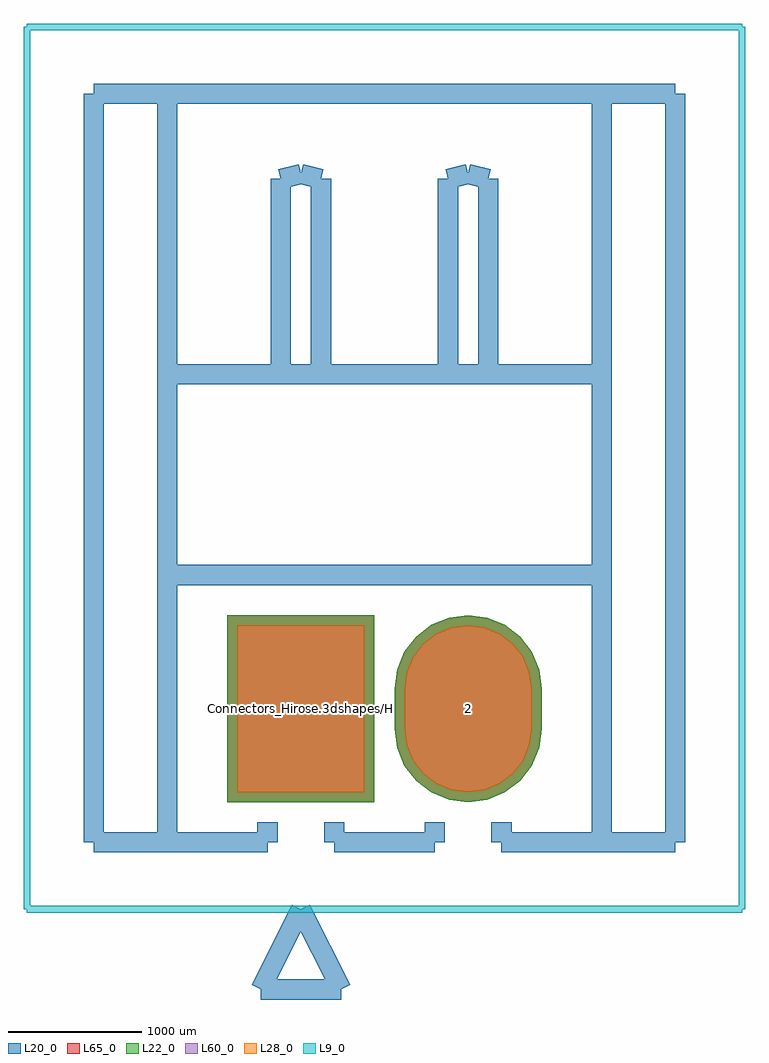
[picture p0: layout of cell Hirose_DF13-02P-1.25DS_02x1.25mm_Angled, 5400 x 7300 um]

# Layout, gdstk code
import gdstk
lib = gdstk.Library(unit=1e-6, precision=1e-09)
def R(c, l, rs):  # rectangles x0, y0, x1, y1
    for r in rs: c.add(gdstk.rectangle(r[:2], r[2:], *l))
def P(c, l, *ps):  # polygons
    for p in ps: c.add(gdstk.Polygon(p, *l))
L9_0 = (9, 0)
L20_0 = (20, 0)
L22_0 = (22, 0)
L28_0 = (28, 0)
L60_0 = (60, 0)
L65_0 = (65, 0)

hirose_df13_02p_1_25ds_0 = lib.new_cell('Hirose_DF13-02P-1.25DS_02x1.25mm_Angled')
R(hirose_df13_02p_1_25ds_0, L22_0, [(-550,-700,550,700)])
P(hirose_df13_02p_1_25ds_0, L22_0, [(1250,-700),(1392.35,-681.259),(1525,-626.314),(1638.909,-538.909),(1726.314,-425),(1781.259,-292.35),(1800,-150),(1800,150),(1781.259,292.35),(1726.314,425),(1638.909,538.909),(1525,626.314),(1392.35,681.259),(1250,700),(1107.65,681.259),(975,626.314),(861.091,538.909),(773.686,425),(718.741,292.35),(700,150),(700,-150),(718.741,-292.35),(773.686,-425),(861.091,-538.909),(975,-626.314),(1107.65,-681.259)])
R(hirose_df13_02p_1_25ds_0, L28_0, [(-475,-625,475,625)])
P(hirose_df13_02p_1_25ds_0, L28_0, [(1250,-625),(1372.939,-608.815),(1487.5,-561.362),(1585.876,-485.876),(1661.362,-387.5),(1708.815,-272.939),(1725,-150),(1725,150),(1708.815,272.939),(1661.362,387.5),(1585.876,485.876),(1487.5,561.362),(1372.939,608.815),(1250,625),(1127.061,608.815),(1012.5,561.362),(914.124,485.876),(838.638,387.5),(791.185,272.939),(775,150),(775,-150),(791.185,-272.939),(838.638,-387.5),(914.124,-485.876),(1012.5,-561.362),(1127.061,-608.815)])
R(hirose_df13_02p_1_25ds_0, L60_0, [(-475,-625,475,625)])
P(hirose_df13_02p_1_25ds_0, L60_0, [(1250,-625),(1372.939,-608.815),(1487.5,-561.362),(1585.876,-485.876),(1661.362,-387.5),(1708.815,-272.939),(1725,-150),(1725,150),(1708.815,272.939),(1661.362,387.5),(1585.876,485.876),(1487.5,561.362),(1372.939,608.815),(1250,625),(1127.061,608.815),(1012.5,561.362),(914.124,485.876),(838.638,387.5),(791.185,272.939),(775,150),(775,-150),(791.185,-272.939),(838.638,-387.5),(914.124,-485.876),(1012.5,-561.362),(1127.061,-608.815)])
R(hirose_df13_02p_1_25ds_0, L65_0, [(-550,-700,550,700)])
P(hirose_df13_02p_1_25ds_0, L65_0, [(1250,-700),(1392.35,-681.259),(1525,-626.314),(1638.909,-538.909),(1726.314,-425),(1781.259,-292.35),(1800,-150),(1800,150),(1781.259,292.35),(1726.314,425),(1638.909,538.909),(1525,626.314),(1392.35,681.259),(1250,700),(1107.65,681.259),(975,626.314),(861.091,538.909),(773.686,425),(718.741,292.35),(700,150),(700,-150),(718.741,-292.35),(773.686,-425),(861.091,-538.909),(975,-626.314),(1107.65,-681.259)])
hirose_df13_02p_1_25ds_0.add(gdstk.FlexPath([(3300,5100),(-2050,5100)], 50, ends="flush", simple_path=True, layer=9, datatype=0))  # L9_0
hirose_df13_02p_1_25ds_0.add(gdstk.FlexPath([(3300,-1500),(3300,5100)], 50, ends="flush", simple_path=True, layer=9, datatype=0))  # L9_0
hirose_df13_02p_1_25ds_0.add(gdstk.FlexPath([(-2050,-1500),(3300,-1500)], 50, ends="flush", simple_path=True, layer=9, datatype=0))  # L9_0
hirose_df13_02p_1_25ds_0.add(gdstk.FlexPath([(-2050,5100),(-2050,-1500)], 50, ends="flush", simple_path=True, layer=9, datatype=0))  # L9_0
hirose_df13_02p_1_25ds_0.add(gdstk.FlexPath([(300,-2100),(0,-1500)], 149.998, ends="flush", simple_path=True, layer=20, datatype=0))  # L20_0
hirose_df13_02p_1_25ds_0.add(gdstk.FlexPath([(-300,-2100),(300,-2100)], 149.998, ends="flush", simple_path=True, layer=20, datatype=0))  # L20_0
hirose_df13_02p_1_25ds_0.add(gdstk.FlexPath([(0,-1500),(-300,-2100)], 149.998, ends="flush", simple_path=True, layer=20, datatype=0))  # L20_0
hirose_df13_02p_1_25ds_0.add(gdstk.FlexPath([(1000,-1000),(1000,-850)], 149.998, ends="flush", simple_path=True, layer=20, datatype=0))  # L20_0
hirose_df13_02p_1_25ds_0.add(gdstk.FlexPath([(250,-1000),(1000,-1000)], 149.998, ends="flush", simple_path=True, layer=20, datatype=0))  # L20_0
hirose_df13_02p_1_25ds_0.add(gdstk.FlexPath([(250,-850),(250,-1000)], 149.998, ends="flush", simple_path=True, layer=20, datatype=0))  # L20_0
hirose_df13_02p_1_25ds_0.add(gdstk.FlexPath([(1400,2500),(1250,2500)], 149.998, ends="flush", simple_path=True, layer=20, datatype=0))  # L20_0
hirose_df13_02p_1_25ds_0.add(gdstk.FlexPath([(1400,3962.5),(1400,2500)], 149.998, ends="flush", simple_path=True, layer=20, datatype=0))  # L20_0
hirose_df13_02p_1_25ds_0.add(gdstk.FlexPath([(1250,4000),(1400,3962.5)], 149.998, ends="flush", simple_path=True, layer=20, datatype=0))  # L20_0
hirose_df13_02p_1_25ds_0.add(gdstk.FlexPath([(1100,3962.5),(1250,4000)], 149.998, ends="flush", simple_path=True, layer=20, datatype=0))  # L20_0
hirose_df13_02p_1_25ds_0.add(gdstk.FlexPath([(1100,2500),(1100,3962.5)], 149.998, ends="flush", simple_path=True, layer=20, datatype=0))  # L20_0
hirose_df13_02p_1_25ds_0.add(gdstk.FlexPath([(1250,2500),(1100,2500)], 149.998, ends="flush", simple_path=True, layer=20, datatype=0))  # L20_0
hirose_df13_02p_1_25ds_0.add(gdstk.FlexPath([(150,2500),(0,2500)], 149.998, ends="flush", simple_path=True, layer=20, datatype=0))  # L20_0
hirose_df13_02p_1_25ds_0.add(gdstk.FlexPath([(150,3962.5),(150,2500)], 149.998, ends="flush", simple_path=True, layer=20, datatype=0))  # L20_0
hirose_df13_02p_1_25ds_0.add(gdstk.FlexPath([(0,4000),(150,3962.5)], 149.998, ends="flush", simple_path=True, layer=20, datatype=0))  # L20_0
hirose_df13_02p_1_25ds_0.add(gdstk.FlexPath([(-150,3962.5),(0,4000)], 149.998, ends="flush", simple_path=True, layer=20, datatype=0))  # L20_0
hirose_df13_02p_1_25ds_0.add(gdstk.FlexPath([(-150,2500),(-150,3962.5)], 149.998, ends="flush", simple_path=True, layer=20, datatype=0))  # L20_0
hirose_df13_02p_1_25ds_0.add(gdstk.FlexPath([(0,2500),(-150,2500)], 149.998, ends="flush", simple_path=True, layer=20, datatype=0))  # L20_0
hirose_df13_02p_1_25ds_0.add(gdstk.FlexPath([(2250,4600),(2250,-1000)], 149.998, ends="flush", simple_path=True, layer=20, datatype=0))  # L20_0
hirose_df13_02p_1_25ds_0.add(gdstk.FlexPath([(-1000,4600),(-1000,-1000)], 149.998, ends="flush", simple_path=True, layer=20, datatype=0))  # L20_0
hirose_df13_02p_1_25ds_0.add(gdstk.FlexPath([(-1000,1000),(2250,1000)], 149.998, ends="flush", simple_path=True, layer=20, datatype=0))  # L20_0
hirose_df13_02p_1_25ds_0.add(gdstk.FlexPath([(-1000,2500),(2250,2500)], 149.998, ends="flush", simple_path=True, layer=20, datatype=0))  # L20_0
hirose_df13_02p_1_25ds_0.add(gdstk.FlexPath([(1500,-1000),(1500,-850)], 149.998, ends="flush", simple_path=True, layer=20, datatype=0))  # L20_0
hirose_df13_02p_1_25ds_0.add(gdstk.FlexPath([(2800,-1000),(1500,-1000)], 149.998, ends="flush", simple_path=True, layer=20, datatype=0))  # L20_0
hirose_df13_02p_1_25ds_0.add(gdstk.FlexPath([(2800,4600),(2800,-1000)], 149.998, ends="flush", simple_path=True, layer=20, datatype=0))  # L20_0
hirose_df13_02p_1_25ds_0.add(gdstk.FlexPath([(-1550,4600),(2800,4600)], 149.998, ends="flush", simple_path=True, layer=20, datatype=0))  # L20_0
hirose_df13_02p_1_25ds_0.add(gdstk.FlexPath([(-1550,-1000),(-1550,4600)], 149.998, ends="flush", simple_path=True, layer=20, datatype=0))  # L20_0
hirose_df13_02p_1_25ds_0.add(gdstk.FlexPath([(-250,-1000),(-1550,-1000)], 149.998, ends="flush", simple_path=True, layer=20, datatype=0))  # L20_0
hirose_df13_02p_1_25ds_0.add(gdstk.FlexPath([(-250,-850),(-250,-1000)], 149.998, ends="flush", simple_path=True, layer=20, datatype=0))  # L20_0
hirose_df13_02p_1_25ds_0.add(gdstk.Label('Connectors_Hirose.3dshapes/Hirose_DF13-02P-1.25DS_02x1.25mm_Angled.wrl', (0,0), layer=12, texttype=0))
hirose_df13_02p_1_25ds_0.add(gdstk.Label('2', (1250,0), layer=28, texttype=0))
hirose_df13_02p_1_25ds_0.add(gdstk.Label('1', (0,0), layer=28, texttype=0))
hirose_df13_02p_1_25ds_0.add(gdstk.Label('type', (625,6000), layer=9, texttype=0))
hirose_df13_02p_1_25ds_0.add(gdstk.Label('devicename', (625,-3000), layer=9, texttype=0))

lib.write_gds('Hirose_DF13-02P-1.25DS_02x1.25mm_Angled.gds')
